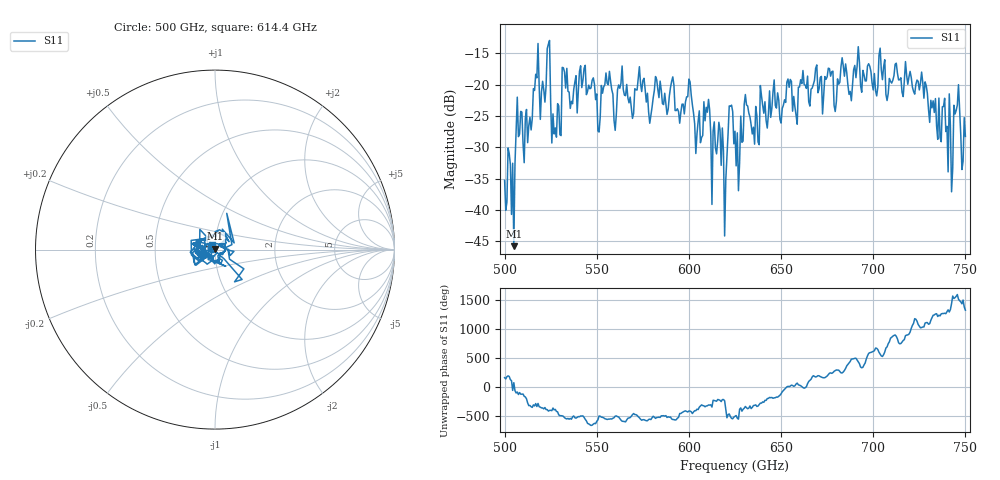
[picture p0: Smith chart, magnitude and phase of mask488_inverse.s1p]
!Created with skrf (http://scikit-rf.org).
# GHz S MA R 50.0
!freq magS11 angS11
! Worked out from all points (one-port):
!   401 points, 500 GHz to 750 GHz, reference 50 ohm
!   lowest |S11| = -45.8 dB at 505 GHz (marker M1), VSWR 1.01, Z = 50.2 + j0.483 ohm
!   |S11| at or under -10 dB: start of sweep to end of sweep
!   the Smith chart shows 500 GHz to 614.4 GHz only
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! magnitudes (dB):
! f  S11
! 500 GHz  -35.3
! 505 GHz  -45.8
! 507.5 GHz  -28.3
! 513.8 GHz  -25.2
! 516.9 GHz  -18.4
! 520.6 GHz  -19.5
! 523.8 GHz  -13.6
! 526.9 GHz  -27.9
! 531.2 GHz  -17.3
! 542.5 GHz  -19.3
! 550.6 GHz  -27.4
! 562.5 GHz  -20.6
! 593.8 GHz  -23.9
! 609.4 GHz  -23.6
! 618.8 GHz  -30.7
! 622.5 GHz  -23.5
! 625 GHz  -27.5
! 656.2 GHz  -24.3
! 676.9 GHz  -18.7
! 680 GHz  -22.7
! 683.8 GHz  -17.0
! 687.5 GHz  -21.1
! 691.2 GHz  -17.1
! 718.8 GHz  -20.0
! 738.8 GHz  -22.2
! 741.9 GHz  -26.7
! 745 GHz  -24.1
! 750 GHz  -28.3
